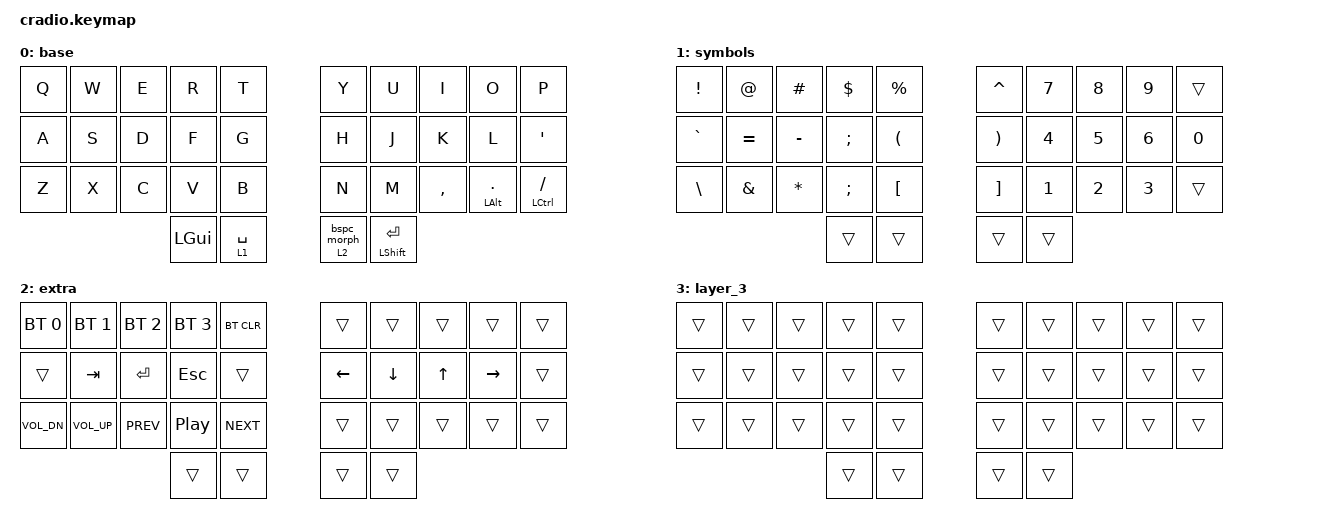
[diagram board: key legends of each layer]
// Copyright (c) 2022 The ZMK Contributors
// SPDX-License-Identifier: MIT

#include <behaviors.dtsi>
#include <dt-bindings/zmk/bt.h>
#include <dt-bindings/zmk/keys.h>
#include <dt-bindings/zmk/modifiers.h>

// Home row mods macro

#define HRML(k1,k2,k3,k4) &ht LSHFT k1  &ht LALT k2  &ht LCTRL k3  &ht LGUI k4
#define HRMR(k1,k2,k3,k4) &ht RGUI k1  &ht RCTRL k2  &ht RALT k3  &ht RSHFT k4

/ {
    behaviors {
        ht: hold_tap {
            compatible = "zmk,behavior-hold-tap";
            #binding-cells = <2>;
            flavor = "tap-preferred";
            tapping-term-ms = <220>;
            quick-tap-ms = <150>;
            require-prior-idle-ms = <100>;
            bindings = <&kp>, <&kp>;
        };

        bspc_morph: bspc_morph {
            compatible = "zmk,behavior-mod-morph";
            #binding-cells = <0>;
            bindings = <&kp BACKSPACE>, <&kp LC(BSPC)>;
            mods = <(MOD_LGUI)>;
        };

        bspc_ht: bspc_ht {
            compatible = "zmk,behavior-hold-tap";
            #binding-cells = <2>;
            flavor = "tap-preferred";
            tapping-term-ms = <200>;
            bindings = <&mo>, <&bspc_morph>;
        };
    };

    conditional_layers {
        compatible = "zmk,conditional-layers";

        tri_layer {
            if-layers = <0 0>;
            then-layer = <0>;
        };
    };

    keymap {
        compatible = "zmk,keymap";

        base {
            bindings = <
&kp Q  &kp W  &kp E  &kp R         &kp T          &kp Y            &kp U             &kp I      &kp O                &kp P
&kp A  &kp S  &kp D  &kp F         &kp G          &kp H            &kp J             &kp K      &kp L                &kp SQT
&kp Z  &kp X  &kp C  &kp V         &kp B          &kp N            &kp M             &kp COMMA  &mt LEFT_ALT PERIOD  &mt LCTRL SLASH
                     &kp LEFT_GUI  &lt 1 SPACE    &bspc_ht 2 0     &mt LSHIFT ENTER
            >;
        };

        symbols {
            bindings = <
&kp EXCL       &kp AT         &kp HASH      &kp DOLLAR     &kp PERCENT             &kp CARET              &kp N7  &kp N8  &kp N9  &trans
&kp GRAVE      &kp EQUAL      &kp MINUS     &kp SEMICOLON  &kp LEFT_PARENTHESIS    &kp RIGHT_PARENTHESIS  &kp N4  &kp N5  &kp N6  &kp N0
&kp BACKSLASH  &kp AMPERSAND  &kp ASTERISK  &kp SEMI       &kp LBKT                &kp RBKT               &kp N1  &kp N2  &kp N3  &trans
                                            &trans         &trans                  &trans                 &trans
            >;
        };

        extra {
            bindings = <
&bt BT_SEL 0  &bt BT_SEL 1  &bt BT_SEL 2  &bt BT_SEL 3      &bt BT_CLR    &trans    &trans    &trans  &trans     &trans
&trans        &kp TAB       &kp ENTER     &kp ESCAPE        &trans        &kp LEFT  &kp DOWN  &kp UP  &kp RIGHT  &trans
&kp C_VOL_DN  &kp C_VOL_UP  &kp C_PREV    &kp C_PLAY_PAUSE  &kp C_NEXT    &trans    &trans    &trans  &trans     &trans
                                          &trans            &trans        &trans    &trans
            >;
        };

        layer_3 {
            bindings = <
&trans  &trans  &trans  &trans  &trans    &trans  &trans  &trans  &trans  &trans
&trans  &trans  &trans  &trans  &trans    &trans  &trans  &trans  &trans  &trans
&trans  &trans  &trans  &trans  &trans    &trans  &trans  &trans  &trans  &trans
                        &trans  &trans    &trans  &trans
            >;
        };
    };
};
